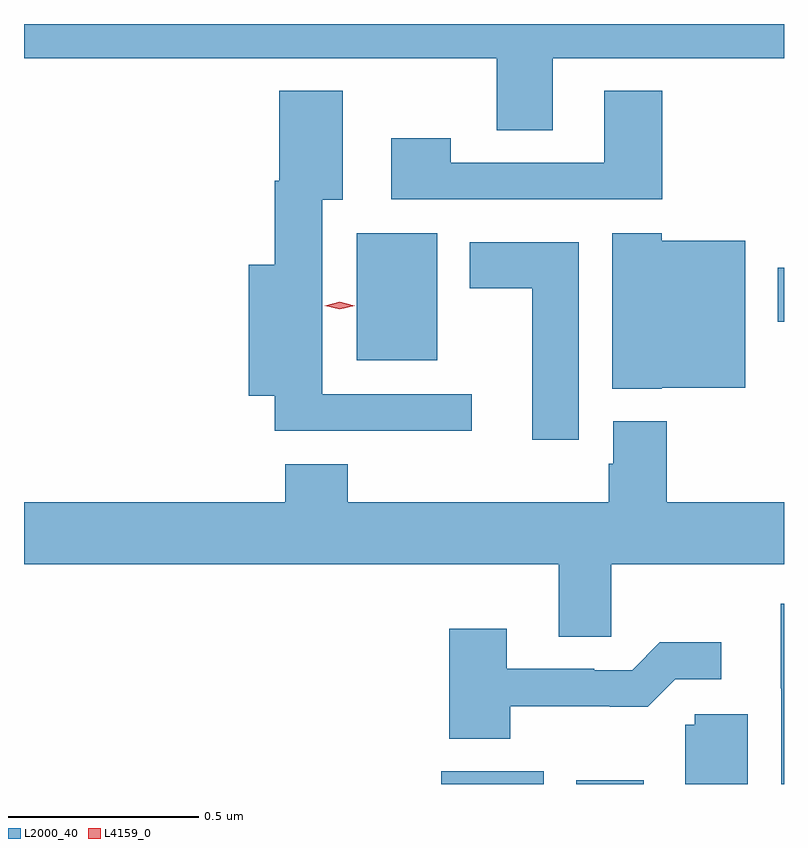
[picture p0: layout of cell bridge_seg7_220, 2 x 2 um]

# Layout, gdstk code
import gdstk
lib = gdstk.Library(unit=1e-6, precision=1e-09)
def R(c, l, rs):  # rectangles x0, y0, x1, y1
    for r in rs: c.add(gdstk.rectangle(r[:2], r[2:], *l))
def P(c, l, *ps):  # polygons
    for p in ps: c.add(gdstk.Polygon(p, *l))
L2000_40 = (2000, 40)
L4159_0 = (4159, 0)

bridge_seg7_220 = lib.new_cell('bridge_seg7_220')
R(bridge_seg7_220, L2000_40, [(327.626,998.706,327.896,998.74), (327.981,998.706,328.159,998.716), (327.404,999.821,327.616,1000.156), (328.511,999.922,328.528,1000.064)])
P(bridge_seg7_220, L2000_40, [(327.919,1000.616),(328.528,1000.616),(328.528,1000.706),(326.528,1000.706),(326.528,1000.616),(327.772,1000.616),(327.772,1000.426),(327.919,1000.426)],
  [(328.208,1000.531),(328.055,1000.531),(328.055,1000.341),(327.651,1000.341),(327.651,1000.405),(327.495,1000.405),(327.495,1000.245),(328.208,1000.245)],
  [(327.706,999.732),(327.313,999.732),(327.313,1000.244),(327.367,1000.244),(327.367,1000.531),(327.2,1000.531),(327.2,1000.293),(327.188,1000.293),(327.188,1000.072),(327.119,1000.072),(327.119,999.728),(327.188,999.728),(327.188,999.635),(327.706,999.635)],
  [(328.206,999.749),(328.426,999.749),(328.426,1000.135),(328.206,1000.135),(328.206,1000.156),(328.076,1000.156),(328.076,999.746),(328.206,999.746)],
  [(327.988,1000.132),(327.701,1000.132),(327.701,1000.01),(327.866,1000.01),(327.866,999.612),(327.988,999.612)],
  [(328.074,999.284),(328.528,999.284),(328.528,999.448),(328.22,999.448),(328.22,999.661),(328.079,999.661),(328.079,999.549),(328.067,999.549),(328.067,999.448),(327.38,999.448),(327.38,999.547),(327.215,999.547),(327.215,999.448),(326.528,999.448),(326.528,999.284),(327.935,999.284),(327.935,999.094),(328.074,999.094)],
  [(328.528,999.181),(328.52,999.181),(328.52,998.958),(328.521,998.958),(328.521,998.706),(328.528,998.706)],
  [(327.807,998.91),(328.07,998.91),(328.07,998.909),(328.169,998.909),(328.242,998.982),(328.363,998.982),(328.363,999.079),(328.201,999.079),(328.128,999.006),(328.028,999.006),(328.028,999.009),(327.799,999.009),(327.799,999.115),(327.647,999.115),(327.647,998.825),(327.807,998.825)],
  [(328.432,998.889),(328.293,998.889),(328.293,998.862),(328.268,998.862),(328.268,998.706),(328.432,998.706)])
P(bridge_seg7_220, L4159_0, [(327.359,999.955),(327.319,999.965),(327.318,999.965),(327.319,999.965),(327.359,999.975),(327.398,999.965),(327.399,999.965),(327.398,999.965)])

lib.write_gds('bridge_seg7_220.gds')
